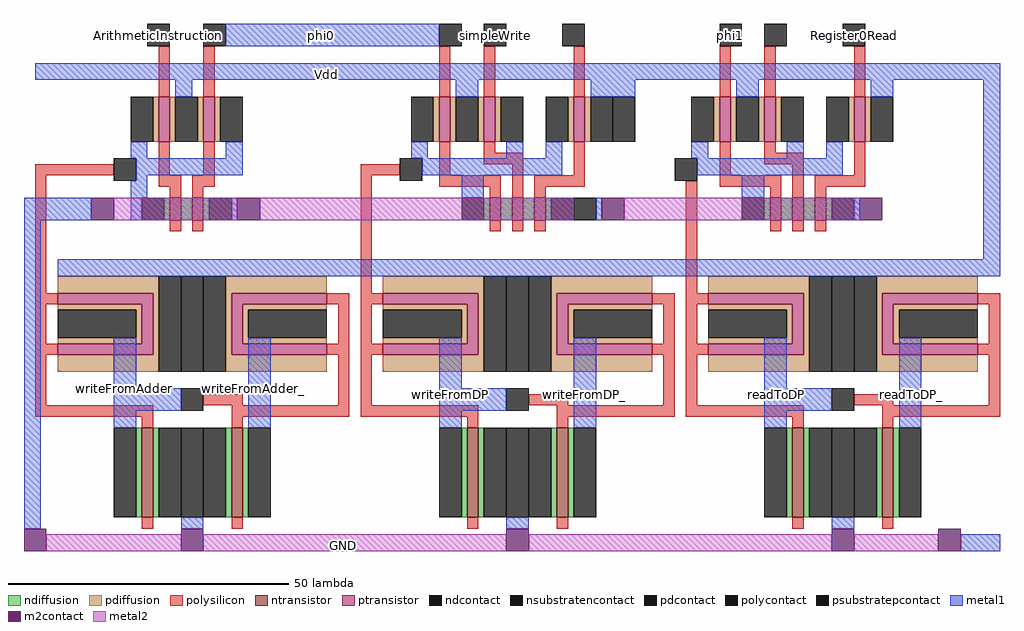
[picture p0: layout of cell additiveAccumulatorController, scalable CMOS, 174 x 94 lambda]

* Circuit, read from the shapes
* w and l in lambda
.subckt additiveAccumulatorController ArithmeticInstruction GND Register0Read Register0Write Vdd phi0 phi1 readToDP readToDP_ simpleRead simpleWrite writeFromAdder writeFromAdder_ writeFromDP writeFromDP_
M1 GND n1 writeFromAdder GND nfet w=16 l=2
M2 n2 ArithmeticInstruction n1 GND nfet w=4 l=2
M3 GND phi0 n2 GND nfet w=4 l=2
M4 writeFromAdder_ writeFromAdder GND GND nfet w=16 l=2
M5 GND n3 writeFromDP GND nfet w=16 l=2
M6 n4 phi0 n3 GND nfet w=4 l=2
M7 n5 simpleWrite n4 GND nfet w=4 l=2
M8 GND Register0Write n5 GND nfet w=4 l=2
M9 writeFromDP_ writeFromDP GND GND nfet w=16 l=2
M10 n6 phi1 n7 GND nfet w=4 l=2
M11 GND n7 readToDP GND nfet w=16 l=2
M12 n8 simpleRead n6 GND nfet w=4 l=2
M13 GND Register0Read n8 GND nfet w=4 l=2
M14 readToDP_ readToDP GND GND nfet w=16 l=2
M15 Vdd n1 writeFromAdder Vdd pfet w=41 l=2
M16 Vdd ArithmeticInstruction n1 Vdd pfet w=8 l=2
M17 n1 phi0 Vdd Vdd pfet w=8 l=2
M18 Vdd writeFromAdder writeFromAdder_ Vdd pfet w=41 l=2
M19 Vdd n3 writeFromDP Vdd pfet w=41 l=2
M20 Vdd phi0 n3 Vdd pfet w=8 l=2
M21 n3 simpleWrite Vdd Vdd pfet w=8 l=2
M22 Vdd writeFromDP writeFromDP_ Vdd pfet w=41 l=2
M23 Vdd Register0Write n3 Vdd pfet w=8 l=2
M24 Vdd n7 readToDP Vdd pfet w=41 l=2
M25 Vdd phi1 n7 Vdd pfet w=8 l=2
M26 n7 simpleRead Vdd Vdd pfet w=8 l=2
M27 Vdd Register0Read n7 Vdd pfet w=8 l=2
M28 Vdd readToDP readToDP_ Vdd pfet w=41 l=2
.ends

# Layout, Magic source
magic
tech scmos
<< polysilicon >>
rect -67 -111 -65 -102
rect -59 -111 -57 -102
rect -17 -111 -15 -102
rect -9 -111 -7 -102
rect 7 -111 9 -102
rect 33 -111 35 -102
rect 41 -111 43 -102
rect 57 -111 59 -102
rect -89 -125 -75 -123
rect -89 -146 -87 -125
rect -67 -125 -65 -119
rect -59 -125 -57 -119
rect -67 -127 -63 -125
rect -65 -129 -63 -127
rect -61 -127 -57 -125
rect -31 -125 -24 -123
rect -61 -129 -59 -127
rect -65 -135 -63 -133
rect -61 -135 -59 -133
rect -89 -148 -85 -146
rect -89 -155 -87 -148
rect -89 -157 -85 -155
rect -89 -166 -87 -157
rect -31 -146 -29 -125
rect -17 -125 -15 -119
rect -9 -121 -7 -119
rect -9 -123 -2 -121
rect -17 -127 -6 -125
rect -8 -129 -6 -127
rect -4 -129 -2 -123
rect 7 -125 9 -119
rect 0 -127 9 -125
rect 0 -129 2 -127
rect -8 -135 -6 -133
rect -4 -135 -2 -133
rect 0 -135 2 -133
rect -37 -148 -33 -146
rect -35 -155 -33 -148
rect -37 -157 -33 -155
rect -89 -168 -68 -166
rect -59 -166 -52 -164
rect -35 -166 -33 -157
rect -70 -170 -68 -168
rect -54 -168 -33 -166
rect -31 -148 -27 -146
rect -31 -155 -29 -148
rect -31 -157 -27 -155
rect -31 -166 -29 -157
rect 27 -146 29 -126
rect 33 -125 35 -119
rect 41 -121 43 -119
rect 41 -123 48 -121
rect 33 -127 44 -125
rect 42 -129 44 -127
rect 46 -129 48 -123
rect 57 -125 59 -119
rect 50 -127 59 -125
rect 50 -129 52 -127
rect 42 -135 44 -133
rect 46 -135 48 -133
rect 50 -135 52 -133
rect 21 -148 25 -146
rect 23 -155 25 -148
rect 21 -157 25 -155
rect -31 -168 -10 -166
rect -1 -166 6 -164
rect 23 -166 25 -157
rect -54 -170 -52 -168
rect -12 -170 -10 -168
rect 4 -168 25 -166
rect 27 -148 31 -146
rect 27 -155 29 -148
rect 27 -157 31 -155
rect 27 -166 29 -157
rect 79 -148 83 -146
rect 81 -155 83 -148
rect 79 -157 83 -155
rect 27 -168 48 -166
rect 57 -166 64 -164
rect 81 -166 83 -157
rect 4 -170 6 -168
rect 46 -170 48 -168
rect 62 -168 83 -166
rect 62 -170 64 -168
rect -70 -188 -68 -186
rect -54 -188 -52 -186
rect -12 -188 -10 -186
rect 4 -188 6 -186
rect 46 -188 48 -186
rect 62 -188 64 -186
<< ndiffusion >>
rect -66 -133 -65 -129
rect -63 -133 -61 -129
rect -59 -133 -58 -129
rect -9 -133 -8 -129
rect -6 -133 -4 -129
rect -2 -133 0 -129
rect 2 -133 3 -129
rect 41 -133 42 -129
rect 44 -133 46 -129
rect 48 -133 50 -129
rect 52 -133 53 -129
rect -71 -186 -70 -170
rect -68 -186 -67 -170
rect -55 -186 -54 -170
rect -52 -186 -51 -170
rect -13 -186 -12 -170
rect -10 -186 -9 -170
rect 3 -186 4 -170
rect 6 -186 7 -170
rect 45 -186 46 -170
rect 48 -186 49 -170
rect 61 -186 62 -170
rect 64 -186 65 -170
<< pdiffusion >>
rect -68 -119 -67 -111
rect -65 -119 -64 -111
rect -60 -119 -59 -111
rect -57 -119 -56 -111
rect -18 -119 -17 -111
rect -15 -119 -14 -111
rect -10 -119 -9 -111
rect -7 -119 -6 -111
rect 6 -119 7 -111
rect 9 -119 10 -111
rect 32 -119 33 -111
rect 35 -119 36 -111
rect 40 -119 41 -111
rect 43 -119 44 -111
rect 56 -119 57 -111
rect 59 -119 60 -111
rect -85 -146 -67 -143
rect -85 -149 -70 -148
rect -71 -154 -70 -149
rect -85 -155 -70 -154
rect -68 -157 -67 -146
rect -85 -160 -67 -157
rect -55 -146 -37 -143
rect -27 -146 -9 -143
rect -55 -157 -54 -146
rect -52 -149 -37 -148
rect -52 -154 -51 -149
rect -52 -155 -37 -154
rect -55 -160 -37 -157
rect -27 -149 -12 -148
rect -13 -154 -12 -149
rect -27 -155 -12 -154
rect -10 -157 -9 -146
rect -27 -160 -9 -157
rect 3 -146 21 -143
rect 31 -146 49 -143
rect 3 -157 4 -146
rect 6 -149 21 -148
rect 6 -154 7 -149
rect 6 -155 21 -154
rect 3 -160 21 -157
rect 31 -149 46 -148
rect 45 -154 46 -149
rect 31 -155 46 -154
rect 48 -157 49 -146
rect 31 -160 49 -157
rect 61 -146 79 -143
rect 61 -157 62 -146
rect 64 -149 79 -148
rect 64 -154 65 -149
rect 64 -155 79 -154
rect 61 -160 79 -157
<< metal1 >>
rect -55 -102 -17 -98
rect -89 -108 83 -105
rect -64 -111 -61 -108
rect -14 -111 -10 -108
rect 10 -111 18 -108
rect 36 -111 40 -108
rect 60 -111 64 -108
rect -72 -122 -69 -119
rect -55 -122 -52 -119
rect -22 -122 -19 -119
rect -5 -122 -2 -119
rect 2 -122 5 -119
rect 28 -122 31 -119
rect 45 -122 48 -119
rect 52 -122 55 -119
rect -71 -125 -52 -122
rect -71 -126 -69 -125
rect -20 -125 5 -122
rect -72 -129 -69 -126
rect -13 -129 -9 -125
rect 29 -125 55 -122
rect 37 -129 41 -125
rect -91 -133 -79 -129
rect -72 -133 -70 -129
rect -54 -133 -53 -129
rect 11 -133 12 -129
rect 57 -133 58 -129
rect -91 -188 -88 -133
rect 80 -140 83 -108
rect -85 -143 83 -140
rect -75 -163 -71 -154
rect -75 -167 -63 -163
rect -75 -170 -71 -167
rect -51 -170 -47 -154
rect -17 -163 -13 -154
rect -17 -167 -5 -163
rect -17 -170 -13 -167
rect 7 -170 11 -154
rect 41 -163 45 -154
rect 41 -167 53 -163
rect 41 -170 45 -167
rect 65 -170 69 -154
rect -63 -188 -59 -186
rect -5 -188 -1 -186
rect 53 -188 57 -186
rect 76 -192 83 -189
<< metal2 >>
rect -75 -133 -53 -129
rect -49 -133 7 -129
rect 16 -133 58 -129
rect -87 -192 -63 -189
rect -59 -192 -5 -189
rect -1 -192 53 -189
rect 57 -192 72 -189
<< ntransistor >>
rect -65 -133 -63 -129
rect -61 -133 -59 -129
rect -8 -133 -6 -129
rect -4 -133 -2 -129
rect 0 -133 2 -129
rect 42 -133 44 -129
rect 46 -133 48 -129
rect 50 -133 52 -129
rect -70 -186 -68 -170
rect -54 -186 -52 -170
rect -12 -186 -10 -170
rect 4 -186 6 -170
rect 46 -186 48 -170
rect 62 -186 64 -170
<< ptransistor >>
rect -67 -119 -65 -111
rect -59 -119 -57 -111
rect -17 -119 -15 -111
rect -9 -119 -7 -111
rect 7 -119 9 -111
rect 33 -119 35 -111
rect 41 -119 43 -111
rect 57 -119 59 -111
rect -85 -148 -68 -146
rect -70 -155 -68 -148
rect -85 -157 -68 -155
rect -54 -148 -37 -146
rect -54 -155 -52 -148
rect -54 -157 -37 -155
rect -27 -148 -10 -146
rect -12 -155 -10 -148
rect -27 -157 -10 -155
rect 4 -148 21 -146
rect 4 -155 6 -148
rect 4 -157 21 -155
rect 31 -148 48 -146
rect 46 -155 48 -148
rect 31 -157 48 -155
rect 62 -148 79 -146
rect 62 -155 64 -148
rect 62 -157 79 -155
<< polycontact >>
rect -69 -102 -65 -98
rect -59 -102 -55 -98
rect -17 -102 -13 -98
rect -9 -102 -5 -98
rect 5 -102 9 -98
rect 33 -102 37 -98
rect 41 -102 45 -98
rect 55 -102 59 -98
rect -75 -126 -71 -122
rect -24 -126 -20 -122
rect 25 -126 29 -122
rect -63 -167 -59 -163
rect -5 -167 -1 -163
rect 53 -167 57 -163
<< ndcontact >>
rect -70 -133 -66 -129
rect -58 -133 -54 -129
rect -13 -133 -9 -129
rect 3 -133 7 -129
rect 37 -133 41 -129
rect 53 -133 57 -129
rect -75 -186 -71 -170
rect -67 -186 -63 -170
rect -59 -186 -55 -170
rect -51 -186 -47 -170
rect -17 -186 -13 -170
rect -9 -186 -5 -170
rect -1 -186 3 -170
rect 7 -186 11 -170
rect 41 -186 45 -170
rect 49 -186 53 -170
rect 57 -186 61 -170
rect 65 -186 69 -170
<< pdcontact >>
rect -72 -119 -68 -111
rect -64 -119 -60 -111
rect -56 -119 -52 -111
rect -22 -119 -18 -111
rect -14 -119 -10 -111
rect -6 -119 -2 -111
rect 2 -119 6 -111
rect 10 -119 14 -111
rect 28 -119 32 -111
rect 36 -119 40 -111
rect 44 -119 48 -111
rect 52 -119 56 -111
rect 60 -119 64 -111
rect -85 -154 -71 -149
rect -67 -160 -63 -143
rect -59 -160 -55 -143
rect -51 -154 -37 -149
rect -27 -154 -13 -149
rect -9 -160 -5 -143
rect -1 -160 3 -143
rect 7 -154 21 -149
rect 31 -154 45 -149
rect 49 -160 53 -143
rect 57 -160 61 -143
rect 65 -154 79 -149
<< m2contact >>
rect -79 -133 -75 -129
rect -53 -133 -49 -129
rect 12 -133 16 -129
rect 58 -133 62 -129
rect -91 -192 -87 -188
rect -63 -192 -59 -188
rect -5 -192 -1 -188
rect 53 -192 57 -188
rect 72 -192 76 -188
<< psubstratepcontact >>
rect 7 -133 11 -129
rect -63 -186 -59 -170
rect -5 -186 -1 -170
rect 53 -186 57 -170
<< nsubstratencontact >>
rect 14 -119 18 -111
rect -63 -160 -59 -143
rect -5 -160 -1 -143
rect 53 -160 57 -143
<< labels >>
rlabel metal1 -38 -100 -38 -100 5 phi0
rlabel polycontact -67 -100 -67 -100 5 ArithmeticInstruction
rlabel polycontact -7 -100 -7 -100 5 simpleWrite
rlabel polycontact 7 -100 7 -100 5 Register0Write
rlabel polycontact 35 -100 35 -100 5 phi1
rlabel polycontact 43 -100 43 -100 5 simpleRead
rlabel polycontact 57 -100 57 -100 5 Register0Read
rlabel metal2 -34 -191 -34 -191 1 GND
rlabel metal1 -37 -107 -37 -107 1 Vdd
rlabel metal1 -73 -163 -73 -163 1 writeFromAdder
rlabel metal1 -50 -163 -50 -163 1 writeFromAdder_
rlabel metal1 -15 -164 -15 -164 1 writeFromDP
rlabel metal1 9 -164 9 -164 1 writeFromDP_
rlabel metal1 43 -164 43 -164 1 readToDP
rlabel metal1 67 -164 67 -164 1 readToDP_
<< end >>
